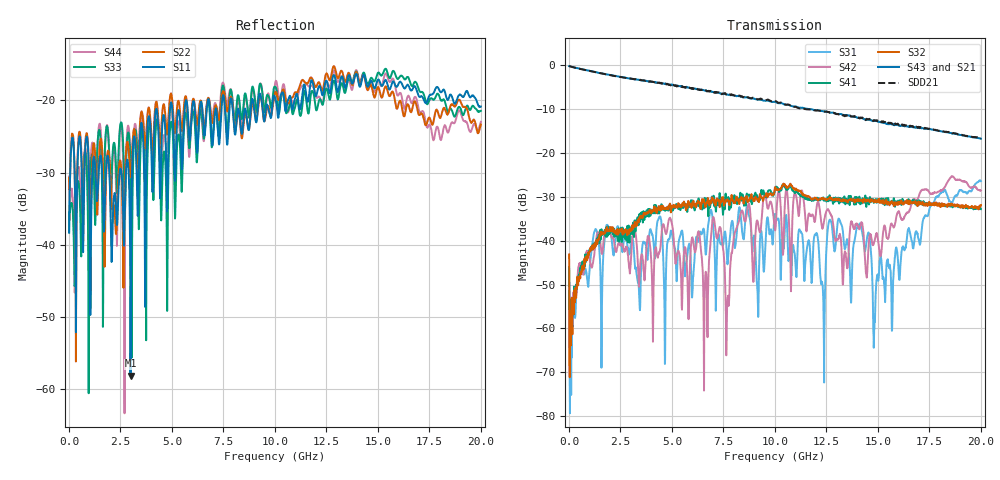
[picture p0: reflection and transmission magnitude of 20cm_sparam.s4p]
! S11 = SDD11
! S12 = SDD12
! S13 = SDC11
! S14 = SDC12
! S21 = SDD21
! S22 = SDD22
! S23 = SDC21
! S24 = SDC22
! S31 = SCD11
! S32 = SCD12
! S33 = SCC11
! S34 = SCC12
! S41 = SCD21
! S42 = SCD22
! S43 = SCC21
! S44 = SCC22
! FILE: L:\Projects\Eval Projects\Cetus A1\Receiver\LSI Compliance Channels\20 cm\20cm sparam.s4p
!$DUT_CFG_DESC: Default 4 Port Configuration
!$NUMBER_PORTS: 4
!$DIFF_PORT_MAP: 1|2P|2|2P|0|UC|0|UC|
!$PORT_MAP: 1|1|<<<<<<|2|2|>>>>>>|3|3|<<<<<<|4|4|>>>>>>|
# MHz S MA R 50.00
! FREQ  S11  S12  S13  S14
!  S21  S22  S23  S24
!  S31  S32  S33  S34
!  S41  S42  S43  S44
!  MAG  ANGLE  MAG  ANGLE  MAG  ANGLE  MAG  ANGLE
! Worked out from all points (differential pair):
!   2000 points, 10 MHz to 20 GHz, reference 50 ohm
!   strongest paths, dB at 10 MHz, 5.01 GHz, 10.01 GHz, 15.01 GHz, 20 GHz:
!     S43: -0.2, -4.5, -8.3, -12.8, -16.7
!     S21: -0.2, -4.6, -8.3, -12.7, -16.8
!     S32: -43.1, -32.4, -27.8, -31.0, -31.8
!     S41: -46.0, -32.7, -28.2, -30.9, -32.8
!     S42: -52.7, -36.4, -37.7, -39.9, -28.6
!     S31: -51.6, -38.4, -33.9, -48.9, -26.4
!   taken as a pair (ports 3,1 in; 4,2 out), SDD21 dB: -0.2, -4.6, -8.1, -12.7, -16.6
!   lowest |S11| = -58.1 dB at 2.99 GHz (marker M1), VSWR 1.00, Z = 50 + j0.123 ohm
!   |S11| at or under -10 dB: start of sweep to end of sweep
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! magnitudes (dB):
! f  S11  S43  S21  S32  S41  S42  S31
! 10 MHz  -38.3  -0.2  -0.2  -43.1  -46.0  -52.7  -51.6
! 2.99 GHz  -58.1  -3.0  -3.0  -37.5  -38.1  -46.1  -41.4
! 10.08 GHz  -20.5  -8.5  -8.4  -28.2  -27.7  -33.3  -34.9
! 12.34 GHz  -19.2  -10.5  -10.5  -30.2  -30.1  -36.8  -52.5
! 14.1 GHz  -18.0  -12.1  -12.1  -30.7  -29.9  -37.3  -36.2
! 14.84 GHz  -18.3  -12.7  -12.6  -30.8  -30.9  -40.0  -57.9
! 20 GHz  -20.8  -16.7  -16.8  -31.8  -32.8  -28.6  -26.4
